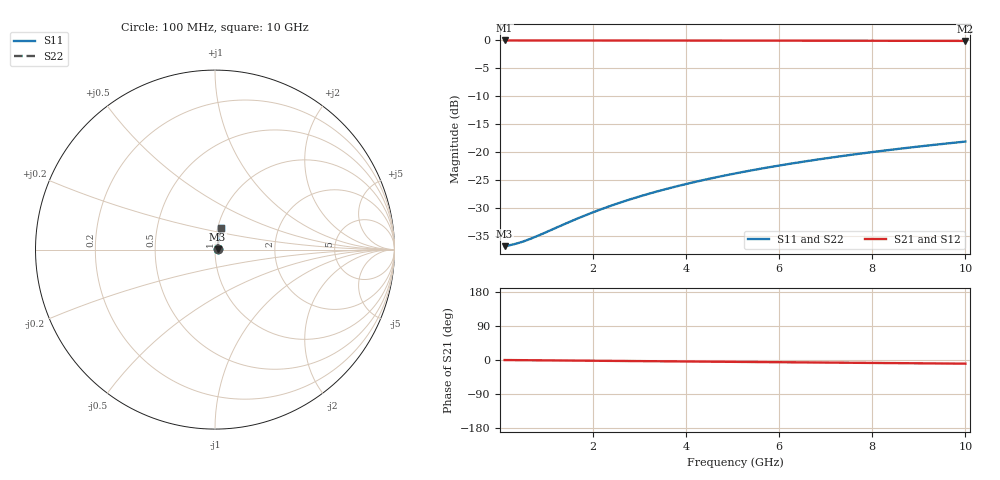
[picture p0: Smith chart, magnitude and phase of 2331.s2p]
# Hz S RI R 50.00
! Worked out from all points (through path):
!   100 points, 100 MHz to 10 GHz, reference 50 ohm
!   highest |S21| = -0.13 dB at 100 MHz (marker M1); lowest = -0.2 dB at 10 GHz (marker M2)
!   group delay of S21, straight-line fit = 2.69 ps
!   lowest |S11| = -36.8 dB at 100 MHz (marker M3), VSWR 1.03, Z = 51.5 + j0.125 ohm
!   |S11| at or under -10 dB: start of sweep to end of sweep
!   |S22| runs from -36.8 to -18.1 dB; largest |S21 - S12| = 0
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1e8  0.0144 0.00122  0.9856 -0.00167  0.9856 -0.00167  0.0144 0.00122
2e8  0.0145 0.00243  0.9855 -0.00334  0.9855 -0.00334  0.0145 0.00243
3e8  0.0146 0.00365  0.9854 -0.00501  0.9854 -0.00501  0.0146 0.00365
4e8  0.0147 0.00486  0.9853 -0.00668  0.9853 -0.00668  0.0147 0.00486
6e8  0.0148 0.00729  0.9852 -0.01  0.9852 -0.01  0.0148 0.00729
8e8  0.0149 0.00972  0.985 -0.0134  0.985 -0.0134  0.0149 0.00972
1.5e9  0.0155 0.0182  0.9845 -0.025  0.9845 -0.025  0.0155 0.0182
1.8e9  0.0157 0.0218  0.9842 -0.03  0.9842 -0.03  0.0157 0.0218
2.2e9  0.0161 0.0267  0.9838 -0.0367  0.9838 -0.0367  0.0161 0.0267
2.6e9  0.0166 0.0315  0.9834 -0.0433  0.9834 -0.0433  0.0166 0.0315
3e9  0.0171 0.0363  0.9828 -0.05  0.9828 -0.05  0.0171 0.0363
3.4e9  0.0177 0.0412  0.9822 -0.0566  0.9822 -0.0566  0.0177 0.0412
3.8e9  0.0183 0.046  0.9815 -0.0632  0.9815 -0.0632  0.0183 0.046
4.2e9  0.019 0.0508  0.9808 -0.0698  0.9808 -0.0698  0.019 0.0508
4.6e9  0.0198 0.0556  0.98 -0.0765  0.98 -0.0765  0.0198 0.0556
5.1e9  0.0208 0.0615  0.9789 -0.0847  0.9789 -0.0847  0.0208 0.0615
5.9e9  0.0227 0.071  0.977 -0.0978  0.977 -0.0978  0.0227 0.071
6.7e9  0.0248 0.0804  0.9747 -0.1109  0.9747 -0.1109  0.0248 0.0804
7.5e9  0.0271 0.0898  0.9722 -0.1239  0.9722 -0.1239  0.0271 0.0898
8.4e9  0.0301 0.1002  0.9691 -0.1384  0.9691 -0.1384  0.0301 0.1002
9.2e9  0.033 0.1094  0.9661 -0.1512  0.9661 -0.1512  0.033 0.1094
1e10  0.0361 0.1185  0.9628 -0.164  0.9628 -0.164  0.0361 0.1185
